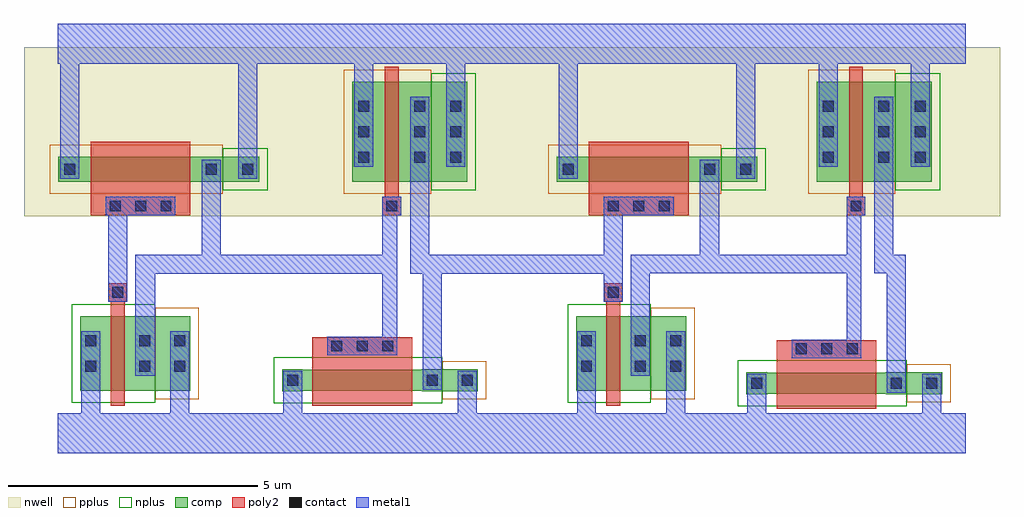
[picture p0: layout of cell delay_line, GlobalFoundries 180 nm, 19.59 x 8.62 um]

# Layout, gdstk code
import gdstk
lib = gdstk.Library(unit=1e-6, precision=5e-09)
def R(c, l, rs):  # rectangles x0, y0, x1, y1
    for r in rs: c.add(gdstk.rectangle(r[:2], r[2:], *l))
def A(c, l, x, y, w, h, nx, ny, dx, dy):  # array of equal rectangles
    R(c, l, [(x+i*dx, y+j*dy, x+i*dx+w, y+j*dy+h) for i in range(nx) for j in range(ny)])
nwell = (21, 0)
comp = (22, 0)
poly2 = (30, 0)
pplus = (31, 0)
nplus = (32, 0)
contact = (33, 0)
metal1 = (34, 0)

pfet = lib.new_cell('pfet')
R(pfet, nwell, [(-1.15,-0.69,4.26,1.19)])
R(pfet, comp, [(-0.46,0,0,0.5), (0,0,2.38,0.5), (2.38,0,2.84,0.5), (2.84,0,3.57,0.5)])
R(pfet, poly2, [(0.19,-0.68,2.19,-0.3), (0.19,-0.3,2.19,0.8)])
R(pfet, pplus, [(-0.63,-0.24,2.84,0.74)])
R(pfet, nplus, [(2.84,-0.17,3.74,0.67)])
A(pfet, contact, 0.57, -0.6, 0.22, 0.22, 3, 1, 0.51, 0)
R(pfet, contact, [(-0.34,0.14,-0.12,0.36), (2.5,0.14,2.72,0.36), (3.23,0.14,3.45,0.36)])
R(pfet, metal1, [(0.49,-0.68,1.89,-0.3), (-0.42,0.06,-0.04,0.44), (2.42,0.06,2.8,0.44), (3.15,0.06,3.53,0.44)])

pfet_2 = lib.new_cell('pfet$2')
R(pfet_2, nwell, [(-1.15,-0.69,2.54,2.69)])
R(pfet_2, comp, [(-0.46,0,0,2), (0,0,0.66,2), (0.66,0,1.12,2), (1.12,0,1.85,2)])
R(pfet_2, poly2, [(0.14,-0.68,0.52,-0.3), (0.19,-0.3,0.47,2.3)])
R(pfet_2, pplus, [(-0.63,-0.24,1.12,2.24)])
R(pfet_2, nplus, [(1.12,-0.17,2.02,2.17)])
A(pfet_2, contact, -0.34, 0.38, 0.22, 0.22, 1, 3, 0, 0.51)
A(pfet_2, contact, 0.78, 0.38, 0.22, 0.22, 1, 3, 0, 0.51)
A(pfet_2, contact, 1.51, 0.38, 0.22, 0.22, 1, 3, 0, 0.51)
R(pfet_2, contact, [(0.22,-0.6,0.44,-0.38)])
R(pfet_2, metal1, [(0.14,-0.68,0.52,-0.3), (-0.42,0.3,-0.04,1.7), (0.7,0.3,1.08,1.7), (1.43,0.3,1.81,1.7)])

nfet = lib.new_cell('nfet')
R(nfet, comp, [(-0.42,0,0,1.5), (0,0,0.66,1.5), (0.66,0,1.08,1.5), (1.08,0,1.79,1.5)])
R(nfet, poly2, [(0.19,-0.3,0.47,1.8), (0.15,1.8,0.51,2.16)])
R(nfet, pplus, [(1.08,-0.17,1.96,1.67)])
R(nfet, nplus, [(-0.59,-0.24,1.08,1.74)])
R(nfet, contact, [(-0.32,0.385,-0.1,0.605), (0.76,0.385,0.98,0.605), (1.47,0.385,1.69,0.605), (-0.32,0.895,-0.1,1.115), (0.76,0.895,0.98,1.115), (1.47,0.895,1.69,1.115), (0.22,1.87,0.44,2.09)])
R(nfet, metal1, [(-0.4,0.305,-0.02,1.195), (0.68,0.305,1.06,1.195), (1.39,0.305,1.77,1.195), (0.14,1.79,0.52,2.17)])

nfet_3 = lib.new_cell('nfet$3')
R(nfet_3, comp, [(-0.42,-0.01,0,0.43), (2.38,-0.01,2.8,0.43), (2.8,-0.01,3.51,0.43), (0,0,2.38,0.42)])
R(nfet_3, poly2, [(0.19,-0.3,2.19,0.72), (0.19,0.72,2.19,1.08)])
R(nfet_3, pplus, [(2.8,-0.17,3.68,0.59)])
R(nfet_3, nplus, [(-0.59,-0.25,2.8,0.67)])
A(nfet_3, contact, 0.57, 0.79, 0.22, 0.22, 3, 1, 0.51, 0)
R(nfet_3, contact, [(-0.32,0.1,-0.1,0.32), (2.48,0.1,2.7,0.32), (3.19,0.1,3.41,0.32)])
R(nfet_3, metal1, [(-0.4,0.02,-0.02,0.4), (2.4,0.02,2.78,0.4), (3.11,0.02,3.49,0.4), (0.49,0.71,1.89,1.09)])

delay_line = lib.new_cell('delay_line')
R(delay_line, nwell, [(-1.55,3.5,18.04,6.9)])
R(delay_line, metal1, [(-0.87,-1.25,17.35,-0.45), (-0.4,-0.45,-0.02,1.195), (1.39,-0.45,1.77,1.195), (3.65,-0.45,4.03,0.4), (7.16,-0.45,7.54,0.4), (9.55,-0.45,9.93,1.195), (11.34,-0.45,11.72,1.195), (12.97,-0.45,13.35,0.34), (16.48,-0.45,16.86,0.34), (15.77,-0.04,16.15,2.73), (6.45,0.02,6.83,2.73), (0.68,0.305,1.08,2.73), (10.63,0.305,11.01,2.73), (14.96,0.65,15.26,3.9), (5.64,0.71,5.94,3.9), (0.14,1.79,0.52,3.9), (10.09,1.79,10.47,3.9), (0.68,2.35,5.94,2.73), (2.02,2.35,2.4,4.64), (6.2,2.35,6.58,5.9), (6.2,2.35,10.47,2.73), (10.63,2.36,15.26,2.73), (12.01,2.36,12.4,4.64), (15.52,2.36,15.9,5.9), (15.52,2.36,16.15,2.73), (-0.82,4.26,-0.44,6.565), (2.75,4.26,3.13,6.565), (9.18,4.26,9.56,6.565), (12.75,4.26,13.13,6.565), (6.93,4.5,7.31,6.565), (14.4,4.5,14.78,6.565), (16.25,4.5,16.63,6.565), (5.08,4.505,5.46,6.565), (-0.87,6.565,17.35,7.365)])
delay_line.add(gdstk.Reference(pfet, (-0.4,4.2)))
delay_line.add(gdstk.Reference(pfet_2, (5.5,4.2)))
delay_line.add(gdstk.Reference(pfet, (9.6,4.2)))
delay_line.add(gdstk.Reference(nfet, (9.95,0)))
delay_line.add(gdstk.Reference(nfet_3, (4.05,0)))
delay_line.add(gdstk.Reference(nfet_3, (13.37,-0.06)))
delay_line.add(gdstk.Reference(pfet_2, (14.82,4.2)))
delay_line.add(gdstk.Reference(nfet, (0,0)))

lib.write_gds('delay_line.gds')
